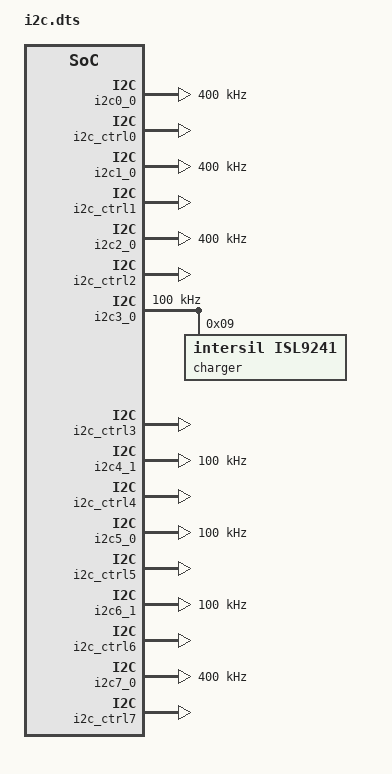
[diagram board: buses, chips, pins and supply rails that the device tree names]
/* Copyright 2022 The ChromiumOS Authors
 * Use of this source code is governed by a BSD-style license that can be
 * found in the LICENSE file.
 */

 #include <dt-bindings/usb_pd_tcpm.h>

/ {
	aliases {
		i2c-0 = &i2c0_0;
		i2c-1 = &i2c1_0;
		i2c-2 = &i2c2_0;
		i2c-3 = &i2c3_0;
		i2c-4 = &i2c4_1;
		i2c-5 = &i2c5_0;
		i2c-6 = &i2c6_1;
		i2c-7 = &i2c7_0;
	};

	named-i2c-ports {
		compatible = "named-i2c-ports";
		i2c_hid_slave: hid_slave {
			/* TODO: how to configure slave mode */
			i2c-port = <&i2c0_0>;
			enum-names = "I2C_PORT_HID_SLAVE";
		};
		i2c_cypd0: cypd0 {
			i2c-port = <&i2c1_0>;
			enum-names = "I2C_PORT_PD_MCU0";
		};
		i2c_cypd1: cypd1 {
			i2c-port = <&i2c2_0>;
			enum-names = "I2C_PORT_PD_MCU1";
		};
		i2c_battery: battery{
			i2c-port = <&i2c3_0>;
			enum-names = "I2C_PORT_BATTERY",
				"I2C_PORT_CHARGER";
		};
		i2c_touchpad: touchpad {
			i2c-port = <&i2c4_1>;
			enum-names = "I2C_PORT_TOUCHPAD";
			dynamic-speed;
		};
		i2c_gpu0: gpu0 {
			i2c-port = <&i2c5_0>;
			enum-names = "I2C_PORT_GPU0";
		};
		i2c_gpu1: gpu1 {
			i2c-port = <&i2c6_1>;
			enum-names = "I2C_PORT_GPU1";
		};
		i2c_sensor: sensor {
			i2c-port = <&i2c7_0>;
			enum-names =  "I2C_PORT_SENSOR";
		};
	};
};

&i2c0_0 {
	status = "okay";
	label = "I2C_PORT0";
	clock-frequency = <I2C_BITRATE_FAST>;
	pinctrl-0 = <&i2c0_0_sda_scl_gpb4_b5>;
	pinctrl-names = "default";

	/* TODO: Add the device on this bus */
};

&i2c_ctrl0 {
	status = "okay";
};

&i2c1_0 {
	status = "okay";
	label = "I2C_PORT1";
	clock-frequency = <I2C_BITRATE_FAST>;
	pinctrl-0 = <&i2c1_0_sda_scl_gp87_90>;
	pinctrl-names = "default";

	/* TODO: Add the device on this bus */
};

&i2c_ctrl1 {
	status = "okay";
};

&i2c2_0 {
	status = "okay";
	label = "I2C_PORT2";
	clock-frequency = <I2C_BITRATE_FAST>;
	pinctrl-0 = <&i2c2_0_sda_scl_gp91_92>;
	pinctrl-names = "default";

	/* TODO: Add the device on this bus */
};

&i2c_ctrl2 {
	status = "okay";
};

&i2c3_0 {
	status = "okay";
	label = "I2C_PORT3";
	clock-frequency = <I2C_BITRATE_STANDARD>;
	pinctrl-0 = <&i2c3_0_sda_scl_gpd0_d1>;
	pinctrl-names = "default";

	/* TODO: Add the device on this bus */
	charger: isl9241@9 {
		compatible = "intersil,isl9241";
		status = "okay";
		reg = <0x9>;
	};
};

&i2c_ctrl3 {
	status = "okay";
};

&i2c4_1 {
	status = "okay";
	label = "I2C_PORT4";
	clock-frequency = <I2C_BITRATE_STANDARD>;
	pinctrl-0 = <&i2c4_1_sda_scl_gpf2_f3>;
	pinctrl-names = "default";

	/* TODO: Add the device on this bus */
};

&i2c_ctrl4 {
	status = "okay";
};

&i2c5_0 {
	status = "okay";
	label = "I2C_PORT5";
	clock-frequency = <I2C_BITRATE_STANDARD>;
	pinctrl-0 = <&i2c5_0_sda_scl_gp33_36>;
	pinctrl-names = "default";

	/* TODO: Add the device on this bus */
};

&i2c_ctrl5 {
	status = "okay";
};

&i2c6_1 {
	status = "okay";
	label = "I2C_PORT6";
	clock-frequency = <I2C_BITRATE_STANDARD>;
	pinctrl-0 = <&i2c6_1_sda_scl_gpe3_e4>;
	pinctrl-names = "default";

	/* TODO: Add the device on this bus */
};

&i2c_ctrl6 {
	status = "okay";
};

&i2c7_0 {
	status = "okay";
	label = "I2C_PORT7";
	clock-frequency = <I2C_BITRATE_FAST>;
	pinctrl-0 = <&i2c7_0_sda_scl_gpb2_b3>;
	pinctrl-names = "default";

	/* TODO: Add the device on this bus */
};

&i2c_ctrl7 {
	status = "okay";
};
